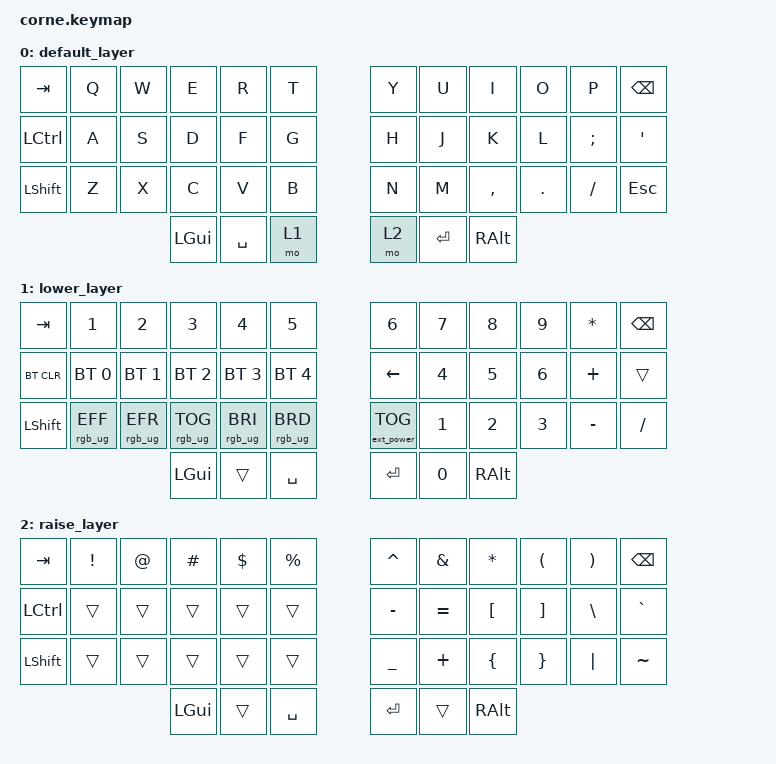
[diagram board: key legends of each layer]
/*
 * Copyright (c) 2020 The ZMK Contributors
 *
 * SPDX-License-Identifier: MIT
 */

#include <behaviors.dtsi>
#include <dt-bindings/zmk/keys.h>
#include <dt-bindings/zmk/bt.h>
#include <dt-bindings/zmk/rgb.h>
#include <dt-bindings/zmk/ext_power.h>

/ {
        keymap {
                compatible = "zmk,keymap";

                default_layer {
// -----------------------------------------------------------------------------------------
// |  TAB |  Q  |  W  |  E  |  R  |  T  |   |  Y  |  U   |  I  |  O  |  P  | BSPC |
// | CTRL |  A  |  S  |  D  |  F  |  G  |   |  H  |  J   |  K  |  L  |  ;  |  '   |
// | SHFT |  Z  |  X  |  C  |  V  |  B  |   |  N  |  M   |  ,  |  .  |  /  | ESC  |
//                    | GUI | LWR | SPC |   | ENT | RSE  | ALT |
                        bindings = <
   &kp TAB   &kp Q &kp W &kp E &kp R &kp T   &kp Y &kp U  &kp I     &kp O   &kp P    &kp BSPC
   &kp LCTRL &kp A &kp S &kp D &kp F &kp G   &kp H &kp J  &kp K     &kp L   &kp SEMI &kp SQT
   &kp LSHFT &kp Z &kp X &kp C &kp V &kp B   &kp N &kp M  &kp COMMA &kp DOT &kp FSLH &kp ESC
                  &kp LGUI &kp SPACE &mo 1   &mo 2 &kp RET &kp RALT
                        >;
                };
                lower_layer {
// -----------------------------------------------------------------------------------------
// |  TAB |  1  |  2  |  3  |  4  |  5  |   |  6  |  7  |  8  |  9  |  *  | BSPC |
// | BTCLR| BT1 | BT2 | BT3 | BT4 | BT5 |   | LFT |  4  |  5  |  6  |  +  |      |
// | SHFT |RGB> |RGB< |RGB T| BRI | BRD |   |     |  1  |  2  |  3  |  -  |  /   |
//                    | GUI |     | SPC |   | ENT |  0  | ALT |
                        bindings = <
   &kp TAB    &kp N1       &kp N2       &kp N3       &kp N4       &kp N5         &kp N6   &kp N7   &kp N8 &kp N9    &kp ASTRK &kp BSPC
   &bt BT_CLR &bt BT_SEL 0 &bt BT_SEL 1 &bt BT_SEL 2 &bt BT_SEL 3 &bt BT_SEL 4   &kp LEFT &kp N4 &kp N5 &kp N6 &kp PLUS &trans
   &kp LSHFT  &rgb_ug RGB_EFF &rgb_ug RGB_EFR &rgb_ug RGB_TOG &rgb_ug RGB_BRI &rgb_ug RGB_BRD   &ext_power EP_TOG &kp N1 &kp N2 &kp N3 &kp MINUS &kp FSLH
                                    &kp LGUI     &trans       &kp SPACE      &kp RET  &kp N0 &kp RALT
                        >;
                };

                raise_layer {
// -----------------------------------------------------------------------------------------
// |  TAB |  !  |  @  |  #  |  $  |  %  |   |  ^  |  &  |  *  |  (  |  )  | BSPC |
// | CTRL |     |     |     |     |     |   |  -  |  =  |  [  |  ]  |  \  |  `   |
// | SHFT |     |     |     |     |     |   |  _  |  +  |  {  |  }  | "|" |  ~   |
//                    | GUI |     | SPC |   | ENT |     | ALT |
                        bindings = <
   &kp  TAB  &kp EXCL &kp AT &kp HASH &kp DLLR &kp PRCNT   &kp CARET &kp AMPS  &kp ASTRK &kp LPAR &kp RPAR &kp BSPC
   &kp LCTRL &trans   &trans &trans   &trans   &trans      &kp MINUS &kp EQUAL &kp LBKT  &kp RBKT &kp BSLH &kp GRAVE
   &kp LSHFT &trans   &trans &trans   &trans   &trans      &kp UNDER &kp PLUS  &kp LBRC  &kp RBRC &kp PIPE &kp TILDE
                             &kp LGUI &trans   &kp SPACE   &kp RET   &trans    &kp RALT
                        >;
                };
        };
};
